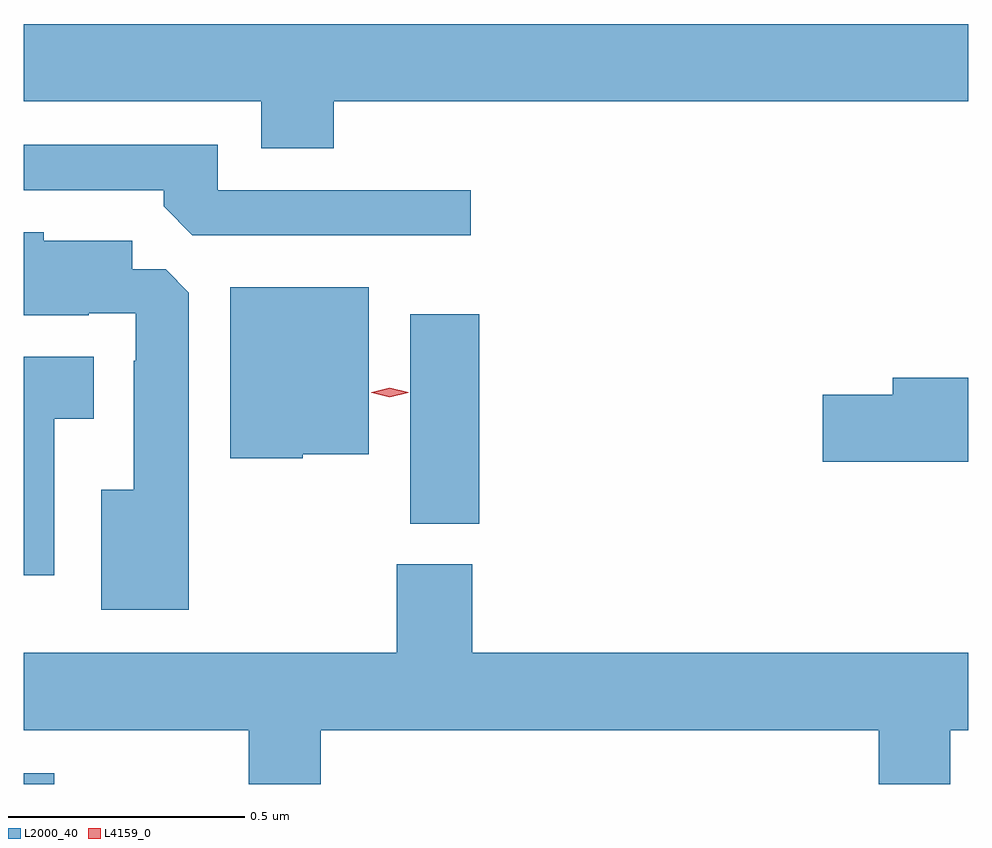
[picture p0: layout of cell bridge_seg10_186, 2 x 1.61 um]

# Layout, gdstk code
import gdstk
lib = gdstk.Library(unit=1e-6, precision=1e-09)
def R(c, l, rs):  # rectangles x0, y0, x1, y1
    for r in rs: c.add(gdstk.rectangle(r[:2], r[2:], *l))
def P(c, l, *ps):  # polygons
    for p in ps: c.add(gdstk.Polygon(p, *l))
L2000_40 = (2000, 40)
L4159_0 = (4159, 0)

bridge_seg10_186 = lib.new_cell('bridge_seg10_186')
R(bridge_seg10_186, L2000_40, [(167.862,1289.546,167.926,1289.569), (168.68,1290.097,168.827,1290.541)])
P(bridge_seg10_186, L2000_40, [(168.518,1290.992),(169.862,1290.992),(169.862,1291.156),(167.862,1291.156),(167.862,1290.992),(168.365,1290.992),(168.365,1290.893),(168.518,1290.893)],
  [(168.808,1290.804),(168.273,1290.804),(168.273,1290.9),(167.862,1290.9),(167.862,1290.804),(168.158,1290.804),(168.158,1290.77),(168.219,1290.708),(168.808,1290.708)],
  [(168.211,1290.587),(168.162,1290.636),(168.091,1290.636),(168.091,1290.697),(167.904,1290.697),(167.904,1290.715),(167.862,1290.715),(167.862,1290.539),(167.999,1290.539),(167.999,1290.543),(168.099,1290.543),(168.099,1290.443),(168.095,1290.443),(168.095,1290.169),(168.026,1290.169),(168.026,1289.915),(168.211,1289.915)],
  [(168.453,1290.245),(168.592,1290.245),(168.592,1290.598),(168.299,1290.598),(168.299,1290.236),(168.453,1290.236)],
  [(167.926,1290.32),(168.01,1290.32),(168.01,1290.451),(167.862,1290.451),(167.862,1289.988),(167.926,1289.988)],
  [(169.862,1290.407),(169.703,1290.407),(169.703,1290.371),(169.554,1290.371),(169.554,1290.229),(169.862,1290.229)],
  [(168.491,1289.66),(169.673,1289.66),(169.673,1289.546),(169.824,1289.546),(169.824,1289.66),(169.862,1289.66),(169.862,1289.824),(168.812,1289.824),(168.812,1290.012),(168.652,1290.012),(168.652,1289.824),(167.862,1289.824),(167.862,1289.66),(168.338,1289.66),(168.338,1289.546),(168.491,1289.546)])
P(bridge_seg10_186, L4159_0, [(168.637,1290.365),(168.599,1290.375),(168.598,1290.375),(168.599,1290.376),(168.637,1290.385),(168.676,1290.376),(168.676,1290.375),(168.676,1290.375)])

lib.write_gds('bridge_seg10_186.gds')
